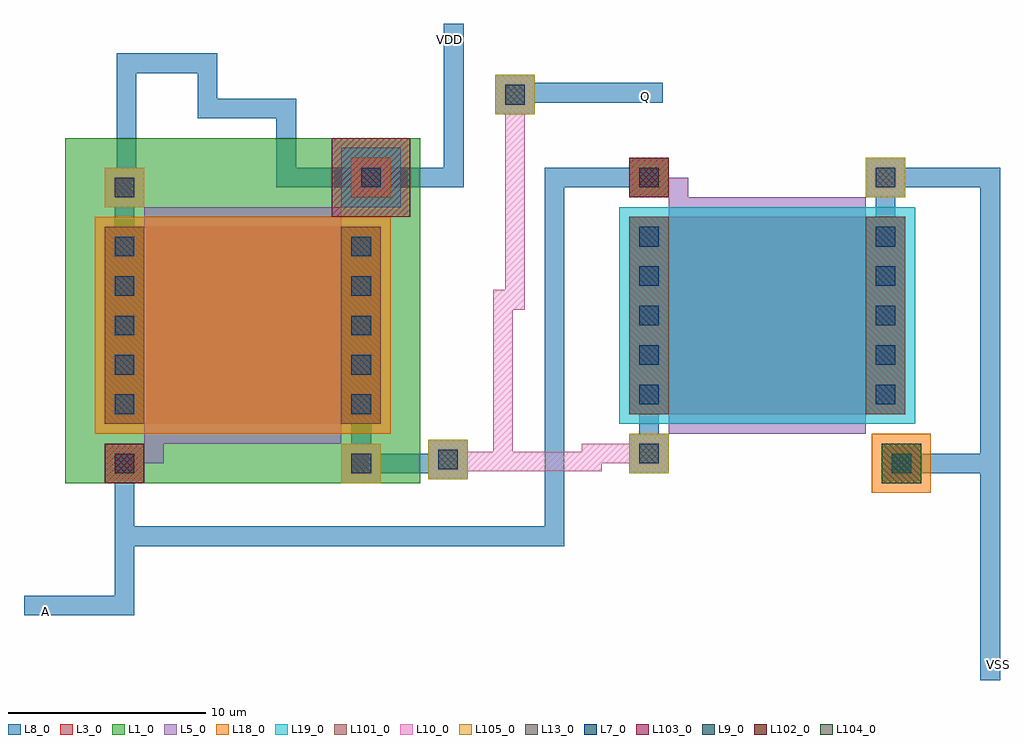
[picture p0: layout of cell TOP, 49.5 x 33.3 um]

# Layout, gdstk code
import gdstk
lib = gdstk.Library(unit=1e-6, precision=1e-07)
def R(c, l, rs):  # rectangles x0, y0, x1, y1
    for r in rs: c.add(gdstk.rectangle(r[:2], r[2:], *l))
L1_0 = (1, 0)
L3_0 = (3, 0)
L5_0 = (5, 0)
L7_0 = (7, 0)
L8_0 = (8, 0)
L9_0 = (9, 0)
L10_0 = (10, 0)
L13_0 = (13, 0)
L18_0 = (18, 0)
L19_0 = (19, 0)
L101_0 = (101, 0)
L102_0 = (102, 0)
L103_0 = (103, 0)
L104_0 = (104, 0)
L105_0 = (105, 0)

via = lib.new_cell('Via')
R(via, L8_0, [(-1,-1,1,1)])
R(via, L9_0, [(-0.5,-0.5,0.5,0.5)])
R(via, L10_0, [(-1,-1,1,1)])
R(via, L13_0, [(-0.5,-0.5,0.5,0.5)])
R(via, L105_0, [(-1,-1,1,1)])

dcont_1 = lib.new_cell('dcont$1')
R(dcont_1, L3_0, [(-1,-1,1,1)])
R(dcont_1, L7_0, [(-0.5,-0.5,0.5,0.5)])
R(dcont_1, L8_0, [(-1,-1,1,1)])
R(dcont_1, L13_0, [(-0.5,-0.5,0.5,0.5)])
R(dcont_1, L101_0, [(-1,-1,1,1)])

pcont_1 = lib.new_cell('pcont$1')
R(pcont_1, L5_0, [(-1,-1,1,1)])
R(pcont_1, L7_0, [(-0.5,-0.5,0.5,0.5)])
R(pcont_1, L8_0, [(-1,-1,1,1)])
R(pcont_1, L13_0, [(-0.5,-0.5,0.5,0.5)])
R(pcont_1, L102_0, [(-1,-1,1,1)])

via_1 = lib.new_cell('Via$1')
R(via_1, L8_0, [(-1,-1,1,1)])
R(via_1, L9_0, [(-0.5,-0.5,0.5,0.5)])
R(via_1, L10_0, [(-1,-1,1,1)])
R(via_1, L13_0, [(-0.5,-0.5,0.5,0.5)])
R(via_1, L105_0, [(-1,-1,1,1)])

dcont1 = lib.new_cell('dcont1')
R(dcont1, L3_0, [(-1,-1,1,1)])
R(dcont1, L7_0, [(-0.5,-0.5,0.5,0.5)])
R(dcont1, L8_0, [(-1,-1,1,1)])
R(dcont1, L13_0, [(-0.5,-0.5,0.5,0.5)])
R(dcont1, L101_0, [(-1,-1,1,1)])

nsubcont_1 = lib.new_cell('nsubcont$1')
R(nsubcont_1, L1_0, [(-2,-2,2,2)])
R(nsubcont_1, L19_0, [(-1.5,-1.5,1.5,1.5)])
R(nsubcont_1, L103_0, [(-2,-2,2,2)])
nsubcont_1.add(gdstk.Reference(dcont1, (0,0)))

pch = lib.new_cell('Pch')
R(pch, L1_0, [(-2,0,16,17.5)])
R(pch, L3_0, [(0,3,14,13)])
R(pch, L18_0, [(-0.5,2.5,14.5,13.5)])
pch.add(gdstk.FlexPath([(1,3),(1,13)], 2, ends="flush", simple_path=True, layer=8, datatype=0))  # L8_0
pch.add(gdstk.FlexPath([(13,3),(13,13)], 2, ends="flush", simple_path=True, layer=8, datatype=0))  # L8_0
pch.add(gdstk.FlexPath([(1,12),(1,15)], 1, ends="flush", simple_path=True, layer=8, datatype=0))  # L8_0
pch.add(gdstk.FlexPath([(13,1),(13,4)], 1, ends="flush", simple_path=True, layer=8, datatype=0))  # L8_0
pch.add(gdstk.FlexPath([(7,3),(7,13)], 10, ends=(1, 1), simple_path=True, layer=5, datatype=0))  # L5_0
pch.add(gdstk.FlexPath([(1,1.5),(2.5,1.5),(2.5,2)], 1, ends="flush", simple_path=True, layer=5, datatype=0))  # L5_0
pch.add(gdstk.Reference(dcont_1, (1,4)))
pch.add(gdstk.Reference(dcont_1, (1,6)))
pch.add(gdstk.Reference(dcont_1, (1,8)))
pch.add(gdstk.Reference(dcont_1, (1,10)))
pch.add(gdstk.Reference(dcont_1, (1,12)))
pch.add(gdstk.Reference(dcont_1, (13,4)))
pch.add(gdstk.Reference(dcont_1, (13,6)))
pch.add(gdstk.Reference(dcont_1, (13,8)))
pch.add(gdstk.Reference(dcont_1, (13,10)))
pch.add(gdstk.Reference(dcont_1, (13,12)))
pch.add(gdstk.Reference(pcont_1, (1,1)))
pch.add(gdstk.Reference(via_1, (1,1)))
pch.add(gdstk.Reference(via_1, (1,15)))
pch.add(gdstk.Reference(via_1, (13,1)))
pch.add(gdstk.Reference(nsubcont_1, (13.5,15.5)))
pch.add(gdstk.Reference(via_1, (13.5,15.5)))

psubcont_1 = lib.new_cell('psubcont$1')
R(psubcont_1, L18_0, [(-1.5,-1.5,1.5,1.5)])
R(psubcont_1, L104_0, [(-1,-1,1,1)])
psubcont_1.add(gdstk.Reference(dcont1, (0,0)))

nch = lib.new_cell('Nch')
R(nch, L3_0, [(0,3,14,13)])
R(nch, L19_0, [(-0.5,2.5,14.5,13.5)])
nch.add(gdstk.FlexPath([(1,3),(1,13)], 2, ends="flush", simple_path=True, layer=8, datatype=0))  # L8_0
nch.add(gdstk.FlexPath([(13,3),(13,13)], 2, ends="flush", simple_path=True, layer=8, datatype=0))  # L8_0
nch.add(gdstk.FlexPath([(1,1),(1,4)], 1, ends="flush", simple_path=True, layer=8, datatype=0))  # L8_0
nch.add(gdstk.FlexPath([(13,12),(13,15)], 1, ends="flush", simple_path=True, layer=8, datatype=0))  # L8_0
nch.add(gdstk.FlexPath([(7,3),(7,13)], 10, ends=(1, 1), simple_path=True, layer=5, datatype=0))  # L5_0
nch.add(gdstk.FlexPath([(1,14.5),(2.5,14.5),(2.5,14)], 1, ends="flush", simple_path=True, layer=5, datatype=0))  # L5_0
nch.add(gdstk.Reference(dcont_1, (1,4)))
nch.add(gdstk.Reference(dcont_1, (1,6)))
nch.add(gdstk.Reference(dcont_1, (1,8)))
nch.add(gdstk.Reference(dcont_1, (1,10)))
nch.add(gdstk.Reference(dcont_1, (1,12)))
nch.add(gdstk.Reference(dcont_1, (13,4)))
nch.add(gdstk.Reference(dcont_1, (13,6)))
nch.add(gdstk.Reference(dcont_1, (13,8)))
nch.add(gdstk.Reference(dcont_1, (13,10)))
nch.add(gdstk.Reference(dcont_1, (13,12)))
nch.add(gdstk.Reference(pcont_1, (1,15)))
nch.add(gdstk.Reference(via_1, (1,15)))
nch.add(gdstk.Reference(via_1, (1,1)))
nch.add(gdstk.Reference(via_1, (13,15)))
nch.add(gdstk.Reference(psubcont_1, (13.8,0.5)))
nch.add(gdstk.Reference(via_1, (13.8,0.5)))

top = lib.new_cell('TOP')
top.add(gdstk.FlexPath([(-41.8,-13),(-41.8,-6.7),(-37.7,-6.7),(-37.7,-9),(-33.7,-9),(-33.7,-12.5),(-29.2,-12.5),(-29.2,-12.5),(-29.2,-12.5)], 1, ends="flush", simple_path=True, layer=8, datatype=0))  # L8_0
top.add(gdstk.FlexPath([(-41.9,-27),(-41.9,-30.7),(-20.1,-30.7),(-20.1,-12.5),(-15.2,-12.5)], 1, ends="flush", simple_path=True, layer=8, datatype=0))  # L8_0
top.add(gdstk.FlexPath([(-41.9,-30.8),(-41.9,-34.2),(-47,-34.2)], 1, ends="flush", simple_path=True, layer=8, datatype=0))  # L8_0
top.add(gdstk.FlexPath([(-29.4,-12.5),(-25.2,-12.5),(-25.2,-4.7)], 1, ends="flush", simple_path=True, layer=8, datatype=0))  # L8_0
top.add(gdstk.FlexPath([(-29.9,-27),(-25.3,-27)], 1, ends="flush", simple_path=True, layer=8, datatype=0))  # L8_0
top.add(gdstk.FlexPath([(-22,-8.2),(-14.6,-8.2)], 1, ends="flush", simple_path=True, layer=8, datatype=0))  # L8_0
top.add(gdstk.FlexPath([(-3.3,-12.5),(2,-12.5),(2,-27.3)], 1, ends="flush", simple_path=True, layer=8, datatype=0))  # L8_0
top.add(gdstk.FlexPath([(-2.5,-27),(2,-27),(2,-38)], 1, ends="flush", simple_path=True, layer=8, datatype=0))  # L8_0
top.add(gdstk.FlexPath([(-25.4,-26.9),(-18.2,-26.9),(-18.2,-26.5),(-15.1,-26.5)], 1, ends="flush", simple_path=True, layer=10, datatype=0))  # L10_0
top.add(gdstk.FlexPath([(-22.1,-8.4),(-22.1,-18.7),(-22.7,-18.7),(-22.7,-27)], 1, ends="flush", simple_path=True, layer=10, datatype=0))  # L10_0
top.add(gdstk.Reference(via, (-25.5,-26.8)))
top.add(gdstk.Reference(pch, (-42.9,-28)))
top.add(gdstk.Reference(nch, (-16.3,-27.5)))
top.add(gdstk.Reference(via, (-22.1,-8.3)))
top.add(gdstk.Label('VSS', (2.4,-37.2), layer=8, texttype=0))
top.add(gdstk.Label('VDD', (-25.4,-5.5), layer=8, texttype=0))
top.add(gdstk.Label('Q', (-15.5,-8.4), layer=8, texttype=0))
top.add(gdstk.Label('A', (-45.9,-34.5), layer=8, texttype=0))

lib.write_gds('TOP.gds')
